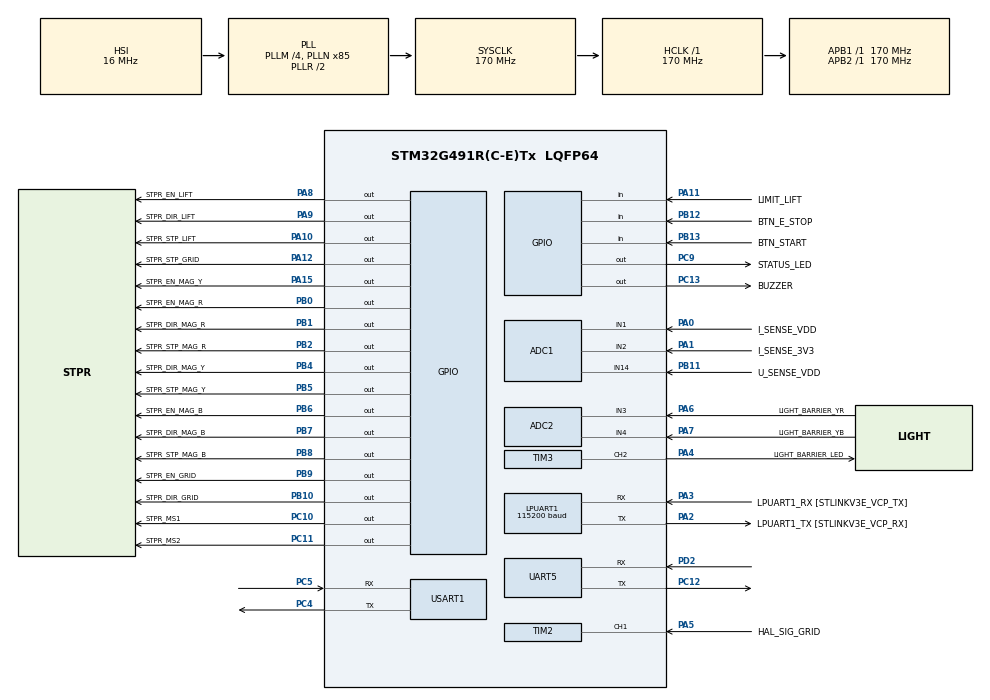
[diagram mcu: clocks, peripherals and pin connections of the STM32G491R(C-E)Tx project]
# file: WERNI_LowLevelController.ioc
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ADC1.Channel-0\#ChannelRegularConversion=ADC_CHANNEL_1
ADC1.Channel-1\#ChannelRegularConversion=ADC_CHANNEL_2
ADC1.Channel-2\#ChannelRegularConversion=ADC_CHANNEL_14
ADC1.DiscontinuousConvMode=DISABLE
ADC1.EOCSelection=ADC_EOC_SEQ_CONV
ADC1.EnableRegularConversion=ENABLE
ADC1.ExternalTrigConv=ADC_SOFTWARE_START
ADC1.NbrOfConversion=3
ADC1.NbrOfConversionFlag=1
ADC1.OffsetNumber-0\#ChannelRegularConversion=ADC_OFFSET_NONE
ADC1.OffsetNumber-1\#ChannelRegularConversion=ADC_OFFSET_NONE
ADC1.OffsetNumber-2\#ChannelRegularConversion=ADC_OFFSET_NONE
ADC1.OversamplingMode=DISABLE
ADC1.Rank-0\#ChannelRegularConversion=1
ADC1.Rank-1\#ChannelRegularConversion=2
ADC1.Rank-2\#ChannelRegularConversion=3
ADC1.SamplingTime-0\#ChannelRegularConversion=ADC_SAMPLETIME_92CYCLES_5
ADC1.SamplingTime-1\#ChannelRegularConversion=ADC_SAMPLETIME_92CYCLES_5
ADC1.SamplingTime-2\#ChannelRegularConversion=ADC_SAMPLETIME_92CYCLES_5
ADC1.master=1
ADC2.Channel-5\#ChannelRegularConversion=ADC_CHANNEL_3
ADC2.Channel-6\#ChannelRegularConversion=ADC_CHANNEL_4
ADC2.ContinuousConvMode=DISABLE
ADC2.DMAContinuousRequests=DISABLE
ADC2.EOCSelection=ADC_EOC_SEQ_CONV
ADC2.EnableRegularConversion=ENABLE
ADC2.NbrOfConversion=2
ADC2.NbrOfConversionFlag=1
ADC2.OffsetNumber-5\#ChannelRegularConversion=ADC_OFFSET_NONE
ADC2.OffsetNumber-6\#ChannelRegularConversion=ADC_OFFSET_NONE
ADC2.Rank-5\#ChannelRegularConversion=1
ADC2.Rank-6\#ChannelRegularConversion=2
ADC2.SamplingTime-5\#ChannelRegularConversion=ADC_SAMPLETIME_92CYCLES_5
ADC2.SamplingTime-6\#ChannelRegularConversion=ADC_SAMPLETIME_92CYCLES_5
CRC.CRCLength=CRC_POLYLENGTH_8B
CRC.DefaultInitValueUse=DEFAULT_INIT_VALUE_DISABLE
CRC.DefaultPolynomialUse=DEFAULT_POLYNOMIAL_DISABLE
CRC.GeneratingPolynomial=X5+X3+X2+X1+X0
CRC.InitValue=123456
Dma.ADC1.0.Direction=DMA_PERIPH_TO_MEMORY
Dma.ADC1.0.EventEnable=DISABLE
Dma.ADC1.0.Instance=DMA1_Channel1
Dma.ADC1.0.MemDataAlignment=DMA_MDATAALIGN_WORD
Dma.ADC1.0.MemInc=DMA_MINC_ENABLE
Dma.ADC1.0.Mode=DMA_NORMAL
Dma.ADC1.0.PeriphDataAlignment=DMA_PDATAALIGN_WORD
Dma.ADC1.0.PeriphInc=DMA_PINC_DISABLE
Dma.ADC1.0.Polarity=HAL_DMAMUX_REQ_GEN_RISING
Dma.ADC1.0.Priority=DMA_PRIORITY_LOW
Dma.ADC1.0.RequestNumber=1
Dma.ADC1.0.SignalID=NONE
Dma.ADC1.0.SyncEnable=DISABLE
Dma.ADC1.0.SyncPolarity=HAL_DMAMUX_SYNC_NO_EVENT
Dma.ADC1.0.SyncRequestNumber=1
Dma.ADC1.0.SyncSignalID=NONE
Dma.ADC2.1.Direction=DMA_PERIPH_TO_MEMORY
Dma.ADC2.1.EventEnable=DISABLE
Dma.ADC2.1.Instance=DMA1_Channel2
Dma.ADC2.1.MemDataAlignment=DMA_MDATAALIGN_WORD
Dma.ADC2.1.MemInc=DMA_MINC_ENABLE
Dma.ADC2.1.Mode=DMA_CIRCULAR
Dma.ADC2.1.PeriphDataAlignment=DMA_PDATAALIGN_WORD
Dma.ADC2.1.PeriphInc=DMA_PINC_DISABLE
Dma.ADC2.1.Polarity=HAL_DMAMUX_REQ_GEN_RISING
Dma.ADC2.1.Priority=DMA_PRIORITY_LOW
Dma.ADC2.1.RequestNumber=1
Dma.ADC2.1.SignalID=NONE
Dma.ADC2.1.SyncEnable=DISABLE
Dma.ADC2.1.SyncPolarity=HAL_DMAMUX_SYNC_NO_EVENT
Dma.ADC2.1.SyncRequestNumber=1
Dma.ADC2.1.SyncSignalID=NONE
Dma.Request0=ADC1
Dma.Request1=ADC2
FREERTOS.INCLUDE_uxTaskGetStackHighWaterMark2=1
FREERTOS.MEMORY_ALLOCATION=2
FREERTOS.Tasks01=idleTask,-3,256,StartIdleTask,Default,NULL,Dynamic,NULL,NULL
FREERTOS.configCHECK_FOR_STACK_OVERFLOW=1
FREERTOS.configENABLE_FPU=1
FREERTOS.configGENERATE_RUN_TIME_STATS=1
FREERTOS.configMAX_PRIORITIES=18
FREERTOS.configMINIMAL_STACK_SIZE=256
FREERTOS.configRECORD_STACK_HIGH_ADDRESS=1
FREERTOS.configTIMER_QUEUE_LENGTH=100
FREERTOS.configTOTAL_HEAP_SIZE=32768
FREERTOS.configUSE_MALLOC_FAILED_HOOK=1
FREERTOS.configUSE_NEWLIB_REENTRANT=1
FREERTOS.configUSE_STATS_FORMATTING_FUNCTIONS=1
FREERTOS.configUSE_TIMERS=1
FREERTOS.configUSE_TRACE_FACILITY=1
LPUART1.BaudRate=115200
LPUART1.ClockPrescaler=UART_PRESCALER_DIV1
LPUART1.FIFOMode=UART_FIFOMODE_ENABLE
Mcu.Family=STM32G4
Mcu.Name=STM32G491R(C-E)Tx
Mcu.Package=LQFP64
NVIC.ADC1_2_IRQn=true\:5\:0\:false\:false\:true\:true\:true\:true\:true
NVIC.DMA1_Channel1_IRQn=true\:5\:0\:false\:false\:true\:true\:false\:true\:true
NVIC.DMA1_Channel2_IRQn=true\:5\:0\:false\:false\:true\:true\:false\:true\:true
NVIC.LPUART1_IRQn=true\:5\:0\:false\:false\:true\:true\:true\:true\:true
NVIC.PriorityGroup=NVIC_PRIORITYGROUP_4
NVIC.TIM1_CC_IRQn=true\:5\:0\:false\:false\:true\:true\:true\:true\:true
NVIC.TIM1_UP_TIM16_IRQn=true\:5\:0\:false\:false\:true\:true\:true\:true\:true
NVIC.TIM6_DAC_IRQn=true\:15\:0\:false\:false\:true\:false\:false\:true\:true
NVIC.TIM7_IRQn=true\:5\:0\:false\:false\:true\:true\:true\:true\:true
NVIC.TimeBase=TIM6_DAC_IRQn
NVIC.TimeBaseIP=TIM6
NVIC.USART1_IRQn=true\:5\:0\:false\:false\:true\:true\:true\:true\:true
PA0.GPIO_Label=I_SENSE_VDD
PA0.Mode=IN1-Single-Ended
PA0.Signal=ADC1_IN1
PA1.GPIO_Label=I_SENSE_3V3
PA1.Mode=IN2-Single-Ended
PA1.Signal=ADC1_IN2
PA10.GPIO_Label=STPR_STP_LIFT
PA10.Signal=GPIO_Output
PA11.GPIO_Label=LIMIT_LIFT
PA11.GPIO_PuPd=GPIO_PULLDOWN
PA11.Signal=GPIO_Input
PA12.GPIO_Label=STPR_STP_GRID
PA12.Signal=GPIO_Output
PA13.GPIO_Label=T_SWDIO
PA13.Mode=Serial_Wire
PA13.Signal=SYS_JTMS-SWDIO
PA14.GPIO_Label=T_SWCLK
PA14.Mode=Serial_Wire
PA14.Signal=SYS_JTCK-SWCLK
PA15.GPIO_Label=STPR_EN_MAG_Y
PA15.PinState=GPIO_PIN_SET
PA15.Signal=GPIO_Output
PA2.GPIO_Label=LPUART1_TX [STLINKV3E_VCP_RX]
PA2.Mode=Asynchronous
PA2.Signal=LPUART1_TX
PA3.GPIO_Label=LPUART1_RX [STLINKV3E_VCP_TX]
PA3.GPIO_PuPd=GPIO_PULLUP
PA3.Mode=Asynchronous
PA3.Signal=LPUART1_RX
PA4.GPIO_Label=LIGHT_BARRIER_LED
PA4.Signal=S_TIM3_CH2
PA5.GPIO_Label=HAL_SIG_GRID
PA5.Signal=S_TIM2_CH1
PA6.GPIO_Label=LIGHT_BARRIER_YR
PA6.Mode=IN3-Single-Ended
PA6.Signal=ADC2_IN3
PA7.GPIO_Label=LIGHT_BARRIER_YB
PA7.Mode=IN4-Single-Ended
PA7.Signal=ADC2_IN4
PA8.GPIO_Label=STPR_EN_LIFT
PA8.PinState=GPIO_PIN_SET
PA8.Signal=GPIO_Output
PA9.GPIO_Label=STPR_DIR_LIFT
PA9.Signal=GPIO_Output
PB0.GPIO_Label=STPR_EN_MAG_R
PB0.PinState=GPIO_PIN_SET
PB0.Signal=GPIO_Output
PB1.GPIO_Label=STPR_DIR_MAG_R
PB1.Signal=GPIO_Output
PB10.GPIO_Label=STPR_DIR_GRID
PB10.Signal=GPIO_Output
PB11.GPIO_Label=U_SENSE_VDD
PB11.Mode=IN14-Single-Ended
PB11.Signal=ADC1_IN14
PB12.GPIO_Label=BTN_E_STOP
PB12.GPIO_PuPd=GPIO_PULLDOWN
PB12.Signal=GPIO_Input
PB13.GPIO_Label=BTN_START
PB13.GPIO_PuPd=GPIO_PULLDOWN
PB13.Signal=GPIO_Input
PB2.GPIO_Label=STPR_STP_MAG_R
PB2.Signal=GPIO_Output
PB3.Signal=SYS_JTDO-SWO
PB4.GPIO_Label=STPR_DIR_MAG_Y
PB4.Signal=GPIO_Output
PB5.GPIO_Label=STPR_STP_MAG_Y
PB5.Signal=GPIO_Output
PB6.GPIO_Label=STPR_EN_MAG_B
PB6.PinState=GPIO_PIN_SET
PB6.Signal=GPIO_Output
PB7.GPIO_Label=STPR_DIR_MAG_B
PB7.Signal=GPIO_Output
PB8-BOOT0.GPIO_Label=STPR_STP_MAG_B
PB8-BOOT0.Signal=GPIO_Output
PB9.GPIO_Label=STPR_EN_GRID
PB9.PinState=GPIO_PIN_SET
PB9.Signal=GPIO_Output
PC10.GPIO_Label=STPR_MS1
PC10.Signal=GPIO_Output
PC11.GPIO_Label=STPR_MS2
PC11.Signal=GPIO_Output
PC12.Mode=Asynchronous
PC12.Signal=UART5_TX
PC13.GPIO_Label=BUZZER
PC13.Signal=GPIO_Output
PC14-OSC32_IN.Signal=RCC_OSC32_IN
PC15-OSC32_OUT.Signal=RCC_OSC32_OUT
PC4.Mode=Asynchronous
PC4.Signal=USART1_TX
PC5.GPIO_PuPd=GPIO_PULLUP
PC5.Mode=Asynchronous
PC5.Signal=USART1_RX
PC9.GPIO_Label=STATUS_LED
PC9.Signal=GPIO_Output
PD2.GPIO_PuPd=GPIO_PULLUP
PD2.Mode=Asynchronous
PD2.Signal=UART5_RX
PF0-OSC_IN.Signal=RCC_OSC_IN
PF1-OSC_OUT.Signal=RCC_OSC_OUT
ProjectManager.HeapSize=0x200
ProjectManager.StackSize=0x400
ProjectManager.TargetToolchain=STM32CubeIDE
RCC.ADC12Freq_Value=170000000
RCC.ADC345Freq_Value=170000000
RCC.AHBFreq_Value=170000000
RCC.APB1Freq_Value=170000000
RCC.APB1TimFreq_Value=170000000
RCC.APB2Freq_Value=170000000
RCC.APB2TimFreq_Value=170000000
RCC.CortexFreq_Value=170000000
RCC.EXTERNAL_CLOCK_VALUE=12288000
RCC.HCLKFreq_Value=170000000
RCC.HSE_VALUE=24000000
RCC.HSI48_VALUE=48000000
RCC.HSI_VALUE=16000000
RCC.LSE_VALUE=32768
RCC.PLLM=RCC_PLLM_DIV4
RCC.PLLN=85
RCC.RTCClockSelection=RCC_RTCCLKSOURCE_LSE
RCC.SYSCLKFreq_VALUE=170000000
RCC.SYSCLKSource=RCC_SYSCLKSOURCE_PLLCLK
RCC.USBFreq_Value=48000000
RCC.VCOOutputFreq_Value=340000000
SH.S_TIM2_CH1.0=TIM2_CH1,PWM_Input_1
SH.S_TIM3_CH2.0=TIM3_CH2,PWM Generation2 CH2
TIM1.AutoReloadPreload=TIM_AUTORELOAD_PRELOAD_ENABLE
TIM1.Channel-Output\ Compare1\ No\ Output=TIM_CHANNEL_1
TIM1.Channel-Output\ Compare2\ No\ Output=TIM_CHANNEL_2
TIM1.Channel-Output\ Compare3\ No\ Output=TIM_CHANNEL_3
TIM1.Channel-Output\ Compare4\ No\ Output=TIM_CHANNEL_4
TIM1.OCMode_1=TIM_OCMODE_TIMING
TIM1.Prescaler=849
TIM2.ICFilter_1=0
TIM2.ICFilter_2=0
TIM2.ICPolarity_1=TIM_INPUTCHANNELPOLARITY_RISING
TIM3.Channel-PWM\ Generation2\ CH2=TIM_CHANNEL_2
TIM3.OCFastMode_PWM-PWM\ Generation2\ CH2=TIM_OCFAST_ENABLE
TIM3.PeriodNoDither=1700
TIM3.Prescaler=0
TIM3.PulseNoDither_2=850
TIM7.AutoReloadPreload=TIM_AUTORELOAD_PRELOAD_ENABLE
TIM7.PeriodNoDither=49999
TIM7.Prescaler=33
TIM7.TIM_MasterOutputTrigger=TIM_TRGO_RESET
UART5.FIFOMode=FIFOMODE_ENABLE
UART5.MSBFirstParam=UART_ADVFEATURE_MSBFIRST_DISABLE
UART5.OverrunDisableParam=UART_ADVFEATURE_OVERRUN_DISABLE
USART1.FIFOMode=FIFOMODE_ENABLE
USART1.Parity=PARITY_NONE
USART1.VirtualMode-Asynchronous=VM_ASYNC
VP_CRC_VS_CRC.Mode=CRC_Activate
VP_FREERTOS_VS_CMSIS_V1.Mode=CMSIS_V1
VP_SYS_VS_DBSignals.Mode=DisableDeadBatterySignals
VP_SYS_VS_tim6.Mode=TIM6
VP_TIM1_VS_ClockSourceINT.Mode=Internal
VP_TIM1_VS_no_output1.Mode=Output Compare1 No Output
VP_TIM1_VS_no_output2.Mode=Output Compare2 No Output
VP_TIM1_VS_no_output3.Mode=Output Compare3 No Output
VP_TIM1_VS_no_output4.Mode=Output Compare4 No Output
VP_TIM2_VS_ClockSourceINT.Mode=Internal
VP_TIM3_VS_ClockSourceINT.Mode=Internal
VP_TIM7_VS_ClockSourceINT.Mode=Enable_Timer
board=NUCLEO-G491RE

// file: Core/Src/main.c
/* USER CODE BEGIN Header */
/**
  ******************************************************************************
  * @file           : main.c
  * @brief          : Main program body
  ******************************************************************************
  * @attention
  *
  * Copyright (c) 2023 STMicroelectronics.
  * All rights reserved.
  *
  * This software is licensed under terms that can be found in the LICENSE file
  * in the root directory of this software component.
  * If no LICENSE file comes with this software, it is provided AS-IS.
  *
  ******************************************************************************
  */
/* USER CODE END Header */
#include "main.h"
#include "cmsis_os.h"
#include "adc.h"
#include "crc.h"
#include "dma.h"
#include "usart.h"
#include "tim.h"
#include "gpio.h"

void SystemClock_Config(void);
void MX_FREERTOS_Init(void);
/* USER CODE BEGIN PFP */
extern void HAL_TIM_PeriodElapsedCallback_FWD(htim);   //Used to forward timer interrupt to InterruptRouting.cpp
/* USER CODE END PFP */

int main(void)
{

  /* MCU Configuration--------------------------------------------------------*/

  /* Reset of all peripherals, Initializes the Flash interface and the Systick. */
  HAL_Init();

  /* Configure the system clock */
  SystemClock_Config();

  /* Initialize all configured peripherals */
  MX_GPIO_Init();
  MX_DMA_Init();
  MX_TIM1_Init();
  MX_USART1_UART_Init();
  MX_LPUART1_UART_Init();
  MX_UART5_Init();
  MX_ADC1_Init();
  MX_TIM2_Init();
  MX_TIM3_Init();
  MX_TIM7_Init();
  MX_ADC2_Init();
  MX_CRC_Init();

  /* Call init function for freertos objects (in cmsis_os2.c) */
  MX_FREERTOS_Init();

  /* Start scheduler */
  osKernelStart();

  /* We should never get here as control is now taken by the scheduler */

  /* Infinite loop */
  while (1)
  {

  }
}

void SystemClock_Config(void)
{
  RCC_OscInitTypeDef RCC_OscInitStruct = {0};
  RCC_ClkInitTypeDef RCC_ClkInitStruct = {0};

  /** Configure the main internal regulator output voltage
  */
  HAL_PWREx_ControlVoltageScaling(PWR_REGULATOR_VOLTAGE_SCALE1_BOOST);

  /** Initializes the RCC Oscillators according to the specified parameters
  * in the RCC_OscInitTypeDef structure.
  */
  RCC_OscInitStruct.OscillatorType = RCC_OSCILLATORTYPE_HSI;
  RCC_OscInitStruct.HSIState = RCC_HSI_ON;
  RCC_OscInitStruct.HSICalibrationValue = RCC_HSICALIBRATION_DEFAULT;
  RCC_OscInitStruct.PLL.PLLState = RCC_PLL_ON;
  RCC_OscInitStruct.PLL.PLLSource = RCC_PLLSOURCE_HSI;
  RCC_OscInitStruct.PLL.PLLM = RCC_PLLM_DIV4;
  RCC_OscInitStruct.PLL.PLLN = 85;
  RCC_OscInitStruct.PLL.PLLP = RCC_PLLP_DIV2;
  RCC_OscInitStruct.PLL.PLLQ = RCC_PLLQ_DIV2;
  RCC_OscInitStruct.PLL.PLLR = RCC_PLLR_DIV2;
  if (HAL_RCC_OscConfig(&RCC_OscInitStruct) != HAL_OK)
  {
    Error_Handler();
  }

  /** Initializes the CPU, AHB and APB buses clocks
  */
  RCC_ClkInitStruct.ClockType = RCC_CLOCKTYPE_HCLK|RCC_CLOCKTYPE_SYSCLK
                              |RCC_CLOCKTYPE_PCLK1|RCC_CLOCKTYPE_PCLK2;
  RCC_ClkInitStruct.SYSCLKSource = RCC_SYSCLKSOURCE_PLLCLK;
  RCC_ClkInitStruct.AHBCLKDivider = RCC_SYSCLK_DIV1;
  RCC_ClkInitStruct.APB1CLKDivider = RCC_HCLK_DIV1;
  RCC_ClkInitStruct.APB2CLKDivider = RCC_HCLK_DIV1;

  if (HAL_RCC_ClockConfig(&RCC_ClkInitStruct, FLASH_LATENCY_4) != HAL_OK)
  {
    Error_Handler();
  }
}

void HAL_TIM_PeriodElapsedCallback(TIM_HandleTypeDef *htim)
{
  if (htim->Instance == TIM6) {
    HAL_IncTick();
  }
  /* USER CODE BEGIN Callback 1 */
  HAL_TIM_PeriodElapsedCallback_FWD(htim);
  /* USER CODE END Callback 1 */
}

void Error_Handler(void)
{
  /* USER CODE BEGIN Error_Handler_Debug */
  /* User can add his own implementation to report the HAL error return state */
  __disable_irq();
  __BKPT();
  while(1)
  {
    HAL_GPIO_TogglePin(STATUS_LED_GPIO_Port, STATUS_LED_Pin);
    for(uint32_t i = 0; i < 2000000; i++)__NOP();
  }
  /* USER CODE END Error_Handler_Debug */
}

#ifdef  USE_FULL_ASSERT
/**
  * @brief  Reports the name of the source file and the source line number
  *         where the assert_param error has occurred.
  * @param  file: pointer to the source file name
  * @param  line: assert_param error line source number
  * @retval None
  */
void assert_failed(uint8_t *file, uint32_t line)
{
  /* USER CODE BEGIN 6 */
  /* User can add his own implementation to report the file name and line number,
     ex: printf("Wrong parameters value: file %s on line %d\r\n", file, line) */
  __disable_irq();
  __BKPT();
  while(1)
  {
    HAL_GPIO_TogglePin(STATUS_LED_GPIO_Port, STATUS_LED_Pin);
    for(uint32_t i = 0; i < 2000000; i++)__NOP();
  }
  /* USER CODE END 6 */
}
#endif /* USE_FULL_ASSERT */

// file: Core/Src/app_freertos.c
/* USER CODE BEGIN Header */
/**
  ******************************************************************************
  * File Name          : app_freertos.c
  * Description        : Code for freertos applications
  ******************************************************************************
  * @attention
  *
  * Copyright (c) 2023 STMicroelectronics.
  * All rights reserved.
  *
  * This software is licensed under terms that can be found in the LICENSE file
  * in the root directory of this software component.
  * If no LICENSE file comes with this software, it is provided AS-IS.
  *
  ******************************************************************************
  */
/* USER CODE END Header */

#include "FreeRTOS.h"
#include "task.h"
#include "main.h"
#include "cmsis_os.h"

/* USER CODE BEGIN Includes */
#include "os_init.h"
#include "app_init.h"
/* USER CODE END Includes */

osThreadId idleTaskHandle;

void StartIdleTask(void const * argument);

void MX_FREERTOS_Init(void); /* (MISRA C 2004 rule 8.1) */

/* GetIdleTaskMemory prototype (linked to static allocation support) */
void vApplicationGetIdleTaskMemory( StaticTask_t **ppxIdleTaskTCBBuffer, StackType_t **ppxIdleTaskStackBuffer, uint32_t *pulIdleTaskStackSize );

/* GetTimerTaskMemory prototype (linked to static allocation support) */
void vApplicationGetTimerTaskMemory( StaticTask_t **ppxTimerTaskTCBBuffer, StackType_t **ppxTimerTaskStackBuffer, uint32_t *pulTimerTaskStackSize );

/* Hook prototypes */
void configureTimerForRunTimeStats(void);
unsigned long getRunTimeCounterValue(void);
void vApplicationStackOverflowHook(xTaskHandle xTask, signed char *pcTaskName);
void vApplicationMallocFailedHook(void);

/* USER CODE BEGIN 1 */
/* Functions needed when configGENERATE_RUN_TIME_STATS is on */
__weak void configureTimerForRunTimeStats(void)
{
  CoreDebug->DEMCR |= CoreDebug_DEMCR_TRCENA_Msk;
  DWT->CTRL |= 1;
  DWT->CYCCNT = 0;
}

__weak unsigned long getRunTimeCounterValue(void)
{
return DWT->CYCCNT;
}
/* USER CODE END 1 */

/* USER CODE BEGIN 4 */
__weak void vApplicationStackOverflowHook(xTaskHandle xTask, signed char *pcTaskName)
{
   /* Run time stack overflow checking is performed if
   configCHECK_FOR_STACK_OVERFLOW is defined to 1 or 2. This hook function is
   called if a stack overflow is detected. */
  assert_param(0);
}
/* USER CODE END 4 */

/* USER CODE BEGIN 5 */
__weak void vApplicationMallocFailedHook(void)
{
   /* vApplicationMallocFailedHook() will only be called if
   configUSE_MALLOC_FAILED_HOOK is set to 1 in FreeRTOSConfig.h. It is a hook
   function that will get called if a call to pvPortMalloc() fails.
   pvPortMalloc() is called internally by the kernel whenever a task, queue,
   timer or semaphore is created. It is also called by various parts of the
   demo application. If heap_1.c or heap_2.c are used, then the size of the
   heap available to pvPortMalloc() is defined by configTOTAL_HEAP_SIZE in
   FreeRTOSConfig.h, and the xPortGetFreeHeapSize() API function can be used
   to query the size of free heap space that remains (although it does not
   provide information on how the remaining heap might be fragmented). */
  assert_param(0);
}
/* USER CODE END 5 */

/* USER CODE BEGIN GET_IDLE_TASK_MEMORY */
static StaticTask_t xIdleTaskTCBBuffer;
static StackType_t xIdleStack[configMINIMAL_STACK_SIZE];

void vApplicationGetIdleTaskMemory( StaticTask_t **ppxIdleTaskTCBBuffer, StackType_t **ppxIdleTaskStackBuffer, uint32_t *pulIdleTaskStackSize )
{
  *ppxIdleTaskTCBBuffer = &xIdleTaskTCBBuffer;
  *ppxIdleTaskStackBuffer = &xIdleStack[0];
  *pulIdleTaskStackSize = configMINIMAL_STACK_SIZE;
  /* place for user code */
}
/* USER CODE END GET_IDLE_TASK_MEMORY */

/* USER CODE BEGIN GET_TIMER_TASK_MEMORY */
static StaticTask_t xTimerTaskTCBBuffer;
static StackType_t xTimerStack[configTIMER_TASK_STACK_DEPTH];

void vApplicationGetTimerTaskMemory( StaticTask_t **ppxTimerTaskTCBBuffer, StackType_t **ppxTimerTaskStackBuffer, uint32_t *pulTimerTaskStackSize )
{
  *ppxTimerTaskTCBBuffer = &xTimerTaskTCBBuffer;
  *ppxTimerTaskStackBuffer = &xTimerStack[0];
  *pulTimerTaskStackSize = configTIMER_TASK_STACK_DEPTH;
  /* place for user code */
}
/* USER CODE END GET_TIMER_TASK_MEMORY */

void MX_FREERTOS_Init(void) {

  /* Create the thread(s) */
  /* definition and creation of idleTask */
  osThreadDef(idleTask, StartIdleTask, osPriorityLow, 0, 256);
  idleTaskHandle = osThreadCreate(osThread(idleTask), NULL);

}

void StartIdleTask(void const * argument)
{
  /* USER CODE BEGIN StartIdleTask */
  /* Infinite loop */
  for(;;)
  {
    MsgPool_init();
    TaskList_init();
    app_init();
    vTaskDelete(NULL);
  }
  /* USER CODE END StartIdleTask */
}
